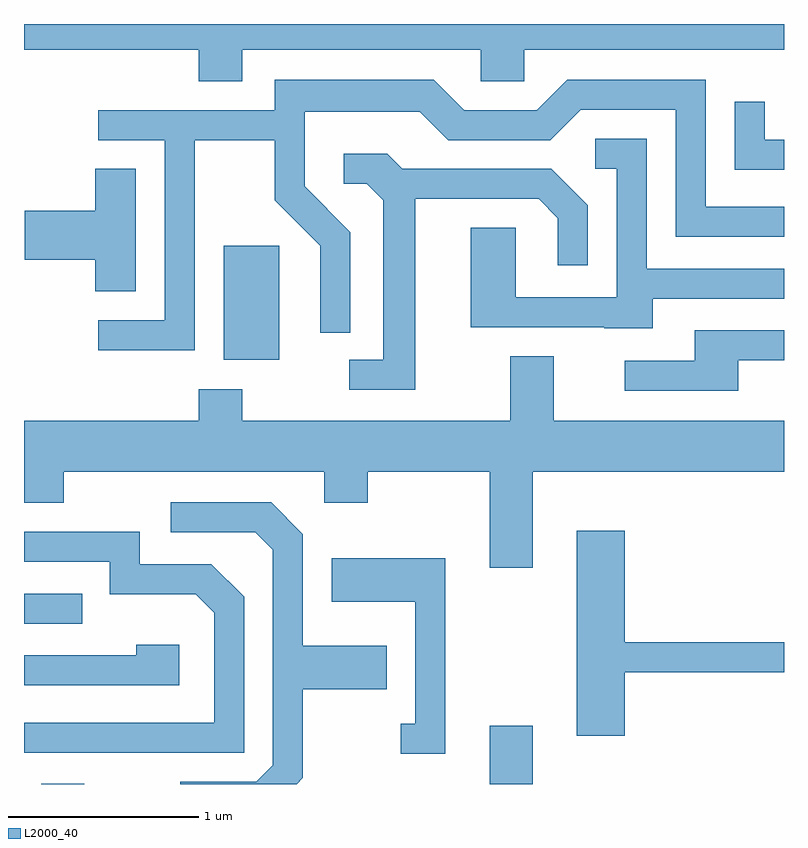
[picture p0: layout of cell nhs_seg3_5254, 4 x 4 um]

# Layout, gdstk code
import gdstk
lib = gdstk.Library(unit=1e-6, precision=1e-09)
def R(c, l, rs):  # rectangles x0, y0, x1, y1
    for r in rs: c.add(gdstk.rectangle(r[:2], r[2:], *l))
def P(c, l, *ps):  # polygons
    for p in ps: c.add(gdstk.Polygon(p, *l))
L2000_40 = (2000, 40)

nhs_seg3_5254 = lib.new_cell('nhs_seg3_5254')
R(nhs_seg3_5254, L2000_40, [(339.701,1159.892,339.929,1159.894), (342.061,1159.892,342.289,1160.199), (339.611,1160.736,339.918,1160.894), (340.661,1162.126,340.954,1162.724)])
P(nhs_seg3_5254, L2000_40, [(340.759,1163.756),(342.016,1163.756),(342.016,1163.591),(342.244,1163.591),(342.244,1163.756),(343.611,1163.756),(343.611,1163.892),(339.611,1163.892),(339.611,1163.756),(340.531,1163.756),(340.531,1163.591),(340.759,1163.591)],
  [(340.509,1163.281),(340.931,1163.281),(340.931,1162.964),(341.171,1162.724),(341.171,1162.268),(341.329,1162.268),(341.329,1162.797),(341.089,1163.037),(341.089,1163.431),(341.694,1163.431),(341.844,1163.281),(342.382,1163.281),(342.542,1163.441),(343.041,1163.441),(343.041,1162.771),(343.611,1162.771),(343.611,1162.929),(343.199,1162.929),(343.199,1163.599),(342.469,1163.599),(342.309,1163.439),(341.927,1163.439),(341.767,1163.599),(340.931,1163.599),(340.931,1163.439),(340.003,1163.439),(340.003,1163.281),(340.351,1163.281),(340.351,1162.334),(340.003,1162.334),(340.003,1162.176),(340.509,1162.176)],
  [(343.611,1163.284),(343.509,1163.284),(343.509,1163.483),(343.351,1163.483),(343.351,1163.126),(343.611,1163.126)],
  [(342.919,1162.446),(343.611,1162.446),(343.611,1162.604),(342.889,1162.604),(342.889,1163.289),(342.618,1163.289),(342.618,1163.131),(342.731,1163.131),(342.731,1162.454),(342.199,1162.454),(342.199,1162.819),(341.961,1162.819),(341.961,1162.296),(342.665,1162.296),(342.665,1162.291),(342.919,1162.291)],
  [(341.669,1162.971),(342.319,1162.971),(342.421,1162.869),(342.421,1162.623),(342.579,1162.623),(342.579,1162.937),(342.387,1163.129),(341.602,1163.129),(341.522,1163.209),(341.293,1163.209),(341.293,1163.051),(341.414,1163.051),(341.501,1162.964),(341.501,1162.124),(341.323,1162.124),(341.323,1161.966),(341.669,1161.966)],
  [(340.199,1163.129),(339.986,1163.129),(339.986,1162.909),(339.616,1162.909),(339.616,1162.651),(339.986,1162.651),(339.986,1162.486),(340.199,1162.486)],
  [(343.369,1162.121),(343.611,1162.121),(343.611,1162.279),(343.141,1162.279),(343.141,1162.119),(342.773,1162.119),(342.773,1161.961),(343.369,1161.961)],
  [(342.289,1161.536),(343.611,1161.536),(343.611,1161.804),(342.399,1161.804),(342.399,1162.144),(342.171,1162.144),(342.171,1161.804),(340.759,1161.804),(340.759,1161.969),(340.531,1161.969),(340.531,1161.804),(339.611,1161.804),(339.611,1161.371),(339.819,1161.371),(339.819,1161.536),(341.191,1161.536),(341.191,1161.371),(341.419,1161.371),(341.419,1161.536),(342.061,1161.536),(342.061,1161.031),(342.289,1161.031)],
  [(341.079,1159.924),(341.079,1160.391),(341.519,1160.391),(341.519,1160.619),(341.079,1160.619),(341.079,1161.207),(340.912,1161.374),(340.383,1161.374),(340.383,1161.216),(340.829,1161.216),(340.921,1161.124),(340.921,1159.992),(340.834,1159.904),(340.433,1159.904),(340.433,1159.892),(341.047,1159.892)],
  [(342.774,1160.481),(343.611,1160.481),(343.611,1160.639),(342.774,1160.639),(342.774,1161.224),(342.521,1161.224),(342.521,1160.146),(342.774,1160.146)],
  [(340.769,1160.877),(340.597,1161.049),(340.219,1161.049),(340.219,1161.219),(339.611,1161.219),(339.611,1161.061),(340.061,1161.061),(340.061,1160.891),(340.514,1160.891),(340.611,1160.794),(340.611,1160.214),(339.611,1160.214),(339.611,1160.056),(340.769,1160.056)],
  [(341.829,1161.079),(341.231,1161.079),(341.231,1160.851),(341.671,1160.851),(341.671,1160.209),(341.593,1160.209),(341.593,1160.051),(341.829,1160.051)],
  [(340.429,1160.624),(340.201,1160.624),(340.201,1160.569),(339.611,1160.569),(339.611,1160.411),(340.429,1160.411)])

lib.write_gds('nhs_seg3_5254.gds')
